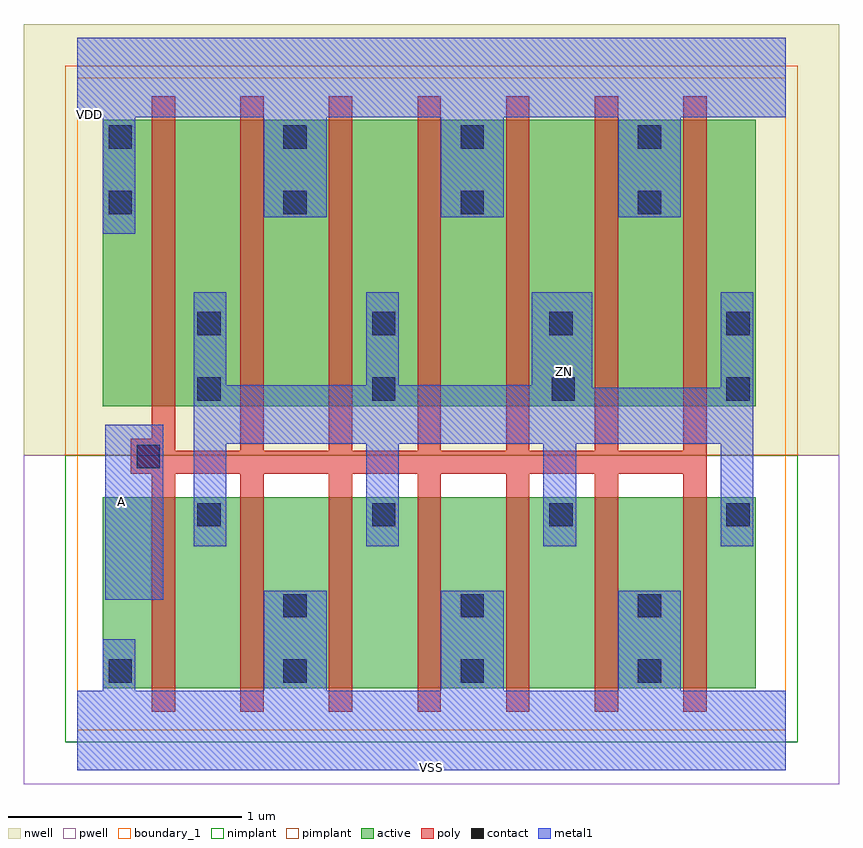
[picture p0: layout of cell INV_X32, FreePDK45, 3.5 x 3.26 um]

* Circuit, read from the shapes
.subckt INV_X32 A VDD VSS ZN
M1 ZN A VSS VSUBS nfet w=0.82u l=0.1u m=7
M2 ZN A VDD n1 pfet w=1.23u l=0.1u m=7
.ends

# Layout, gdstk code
import gdstk
lib = gdstk.Library(unit=1e-6, precision=1e-09)
def R(c, l, rs):  # rectangles x0, y0, x1, y1
    for r in rs: c.add(gdstk.rectangle(r[:2], r[2:], *l))
def A(c, l, x, y, w, h, nx, ny, dx, dy):  # array of equal rectangles
    R(c, l, [(x+i*dx, y+j*dy, x+i*dx+w, y+j*dy+h) for i in range(nx) for j in range(ny)])
def P(c, l, *ps):  # polygons
    for p in ps: c.add(gdstk.Polygon(p, *l))
active = (1, 0)
pwell = (2, 0)
nwell = (3, 0)
nimplant = (4, 0)
pimplant = (5, 0)
poly = (9, 0)
contact = (10, 0)
metal1 = (11, 0)
boundary_1 = (235, 1)

inv_x32 = lib.new_cell('INV_X32')
R(inv_x32, active, [(0.11,0.18,2.91,1), (0.11,1.39,2.91,2.62)])
R(inv_x32, pwell, [(-0.23,-0.23,3.27,1.18)])
R(inv_x32, nwell, [(-0.23,1.18,3.27,3.03)])
R(inv_x32, nimplant, [(-0.05,-0.05,3.09,1.18)])
R(inv_x32, pimplant, [(-0.05,1.18,3.09,2.85)])
P(inv_x32, poly, [(0.23,1.1),(0.32,1.1),(0.32,0.08),(0.42,0.08),(0.42,1.1),(0.7,1.1),(0.7,0.08),(0.8,0.08),(0.8,1.1),(1.08,1.1),(1.08,0.08),(1.18,0.08),(1.18,1.1),(1.46,1.1),(1.46,0.08),(1.56,0.08),(1.56,1.1),(1.84,1.1),(1.84,0.08),(1.94,0.08),(1.94,1.1),(2.22,1.1),(2.22,0.08),(2.32,0.08),(2.32,1.1),(2.6,1.1),(2.6,0.08),(2.7,0.08),(2.7,2.72),(2.6,2.72),(2.6,1.2),(2.32,1.2),(2.32,2.72),(2.22,2.72),(2.22,1.2),(1.94,1.2),(1.94,2.72),(1.84,2.72),(1.84,1.2),(1.56,1.2),(1.56,2.72),(1.46,2.72),(1.46,1.2),(1.18,1.2),(1.18,2.72),(1.08,2.72),(1.08,1.2),(0.8,1.2),(0.8,2.72),(0.7,2.72),(0.7,1.2),(0.42,1.2),(0.42,2.72),(0.32,2.72),(0.32,1.25),(0.23,1.25)])
A(inv_x32, contact, 0.885, 0.205, 0.1, 0.1, 3, 2, 0.76, 0.28)
A(inv_x32, contact, 1.265, 0.875, 0.1, 0.1, 3, 2, 0.76, 0.82)
A(inv_x32, contact, 0.885, 2.215, 0.1, 0.1, 3, 2, 0.76, 0.28)
R(inv_x32, contact, [(0.135,0.205,0.235,0.305), (0.515,0.875,0.615,0.975), (0.255,1.125,0.355,1.225), (0.515,1.415,0.615,1.515), (1.265,1.415,1.365,1.515), (2.035,1.415,2.135,1.515), (2.785,1.415,2.885,1.515), (0.515,1.695,0.615,1.795), (0.135,2.215,0.235,2.315), (0.135,2.495,0.235,2.595)])
R(inv_x32, metal1, [(0.12,0.56,0.37,1.31), (0.12,0.56,0.37,1.31)])
P(inv_x32, metal1, [(0.5,0.79),(0.64,0.79),(0.64,1.23),(1.24,1.23),(1.24,0.79),(1.38,0.79),(1.38,1.23),(2,1.23),(2,0.79),(2.14,0.79),(2.14,1.23),(2.76,1.23),(2.76,0.79),(2.9,0.79),(2.9,1.88),(2.76,1.88),(2.76,1.47),(2.21,1.47),(2.21,1.88),(1.95,1.88),(1.95,1.48),(1.38,1.48),(1.38,1.88),(1.24,1.88),(1.24,1.48),(0.64,1.48),(0.64,1.88),(0.5,1.88)],
  [(0,-0.17),(3.04,-0.17),(3.04,0.17),(2.59,0.17),(2.59,0.6),(2.32,0.6),(2.32,0.17),(1.83,0.17),(1.83,0.6),(1.56,0.6),(1.56,0.17),(1.07,0.17),(1.07,0.6),(0.8,0.6),(0.8,0.17),(0.25,0.17),(0.25,0.39),(0.11,0.39),(0.11,0.17),(0,0.17)],
  [(0,2.63),(0.11,2.63),(0.11,2.13),(0.25,2.13),(0.25,2.63),(0.8,2.63),(0.8,2.2),(1.07,2.2),(1.07,2.63),(1.56,2.63),(1.56,2.2),(1.83,2.2),(1.83,2.63),(2.32,2.63),(2.32,2.2),(2.59,2.2),(2.59,2.63),(3.04,2.63),(3.04,2.97),(0,2.97)],
  [(0,2.63),(0.11,2.63),(0.11,2.13),(0.25,2.13),(0.25,2.63),(0.8,2.63),(0.8,2.2),(1.07,2.2),(1.07,2.63),(1.56,2.63),(1.56,2.2),(1.83,2.2),(1.83,2.63),(2.32,2.63),(2.32,2.2),(2.59,2.2),(2.59,2.63),(3.04,2.63),(3.04,2.97),(0,2.97)],
  [(0,-0.17),(3.04,-0.17),(3.04,0.17),(2.59,0.17),(2.59,0.6),(2.32,0.6),(2.32,0.17),(1.83,0.17),(1.83,0.6),(1.56,0.6),(1.56,0.17),(1.07,0.17),(1.07,0.6),(0.8,0.6),(0.8,0.17),(0.25,0.17),(0.25,0.39),(0.11,0.39),(0.11,0.17),(0,0.17)],
  [(0.5,0.79),(0.64,0.79),(0.64,1.23),(1.24,1.23),(1.24,0.79),(1.38,0.79),(1.38,1.23),(2,1.23),(2,0.79),(2.14,0.79),(2.14,1.23),(2.76,1.23),(2.76,0.79),(2.9,0.79),(2.9,1.88),(2.76,1.88),(2.76,1.47),(2.21,1.47),(2.21,1.88),(1.95,1.88),(1.95,1.48),(1.38,1.48),(1.38,1.88),(1.24,1.88),(1.24,1.48),(0.64,1.48),(0.64,1.88),(0.5,1.88)])
R(inv_x32, boundary_1, [(0,0,3.04,2.8)])
inv_x32.add(gdstk.Label('ZN', (2.09,1.54), layer=11, texttype=0))
inv_x32.add(gdstk.Label('VSS', (1.52,-0.16), layer=11, texttype=0))
inv_x32.add(gdstk.Label('VDD', (0.055,2.64), layer=11, texttype=0))
inv_x32.add(gdstk.Label('A', (0.19,0.98), layer=11, texttype=0))

lib.write_gds('INV_X32.gds')
